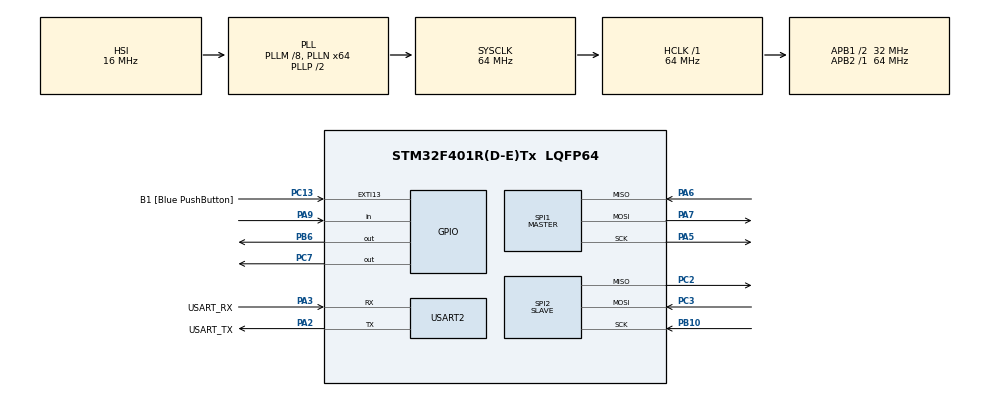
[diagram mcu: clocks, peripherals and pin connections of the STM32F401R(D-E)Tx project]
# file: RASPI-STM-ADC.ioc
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Mcu.Family=STM32F4
Mcu.Name=STM32F401R(D-E)Tx
Mcu.Package=LQFP64
NVIC.PriorityGroup=NVIC_PRIORITYGROUP_0
PA13.GPIO_Label=TMS
PA13.Mode=Serial_Wire
PA13.Signal=SYS_JTMS-SWDIO
PA14.GPIO_Label=TCK
PA14.Mode=Serial_Wire
PA14.Signal=SYS_JTCK-SWCLK
PA2.GPIO_Label=USART_TX
PA2.GPIO_Mode=GPIO_MODE_AF_PP
PA2.GPIO_PuPd=GPIO_NOPULL
PA2.GPIO_Speed=GPIO_SPEED_FREQ_LOW
PA2.Mode=Asynchronous
PA2.Signal=USART2_TX
PA3.GPIO_Label=USART_RX
PA3.GPIO_Mode=GPIO_MODE_AF_PP
PA3.GPIO_PuPd=GPIO_NOPULL
PA3.GPIO_Speed=GPIO_SPEED_FREQ_LOW
PA3.Mode=Asynchronous
PA3.Signal=USART2_RX
PA5.Mode=Full_Duplex_Master
PA5.Signal=SPI1_SCK
PA6.Mode=Full_Duplex_Master
PA6.Signal=SPI1_MISO
PA7.Mode=Full_Duplex_Master
PA7.Signal=SPI1_MOSI
PA9.Signal=GPIO_Input
PB10.Mode=Full_Duplex_Slave
PB10.Signal=SPI2_SCK
PB12.Signal=SPI2_NSS
PB3.GPIO_Label=SWO
PB3.Signal=SYS_JTDO-SWO
PB6.Signal=GPIO_Output
PC13-ANTI_TAMP.GPIO_Label=B1 [Blue PushButton]
PC13-ANTI_TAMP.GPIO_ModeDefaultEXTI=GPIO_MODE_IT_FALLING
PC13-ANTI_TAMP.GPIO_PuPd=GPIO_NOPULL
PC13-ANTI_TAMP.Signal=GPXTI13
PC14-OSC32_IN.Mode=LSE-External-Oscillator
PC14-OSC32_IN.Signal=RCC_OSC32_IN
PC15-OSC32_OUT.Mode=LSE-External-Oscillator
PC15-OSC32_OUT.Signal=RCC_OSC32_OUT
PC2.Mode=Full_Duplex_Slave
PC2.Signal=SPI2_MISO
PC3.Mode=Full_Duplex_Slave
PC3.Signal=SPI2_MOSI
PC7.Signal=GPIO_Output
PH0\ -\ OSC_IN.Mode=HSE-External-Clock-Source
PH0\ -\ OSC_IN.Signal=RCC_OSC_IN
PH1\ -\ OSC_OUT.Mode=HSE-External-Clock-Source
PH1\ -\ OSC_OUT.Signal=RCC_OSC_OUT
ProjectManager.HeapSize=0x200
ProjectManager.StackSize=0x400
ProjectManager.TargetToolchain=STM32CubeIDE
RCC.48MHZClocksFreq_Value=18285714.285714287
RCC.AHBFreq_Value=64000000
RCC.APB1CLKDivider=RCC_HCLK_DIV2
RCC.APB1Freq_Value=32000000
RCC.APB1TimFreq_Value=64000000
RCC.APB2Freq_Value=64000000
RCC.APB2TimFreq_Value=64000000
RCC.CortexFreq_Value=64000000
RCC.HCLKFreq_Value=64000000
RCC.HSE_VALUE=8000000
RCC.HSI_VALUE=16000000
RCC.PLLM=8
RCC.PLLN=64
RCC.PLLQ=7
RCC.SYSCLKFreq_VALUE=64000000
RCC.SYSCLKSource=RCC_SYSCLKSOURCE_PLLCLK
RCC.VCOOutputFreq_Value=128000000
SPI1.BaudRatePrescaler=SPI_BAUDRATEPRESCALER_32
SPI1.CLKPhase=SPI_PHASE_1EDGE
SPI1.CLKPolarity=SPI_POLARITY_HIGH
SPI1.CRCCalculation=SPI_CRCCALCULATION_DISABLE
SPI1.DataSize=SPI_DATASIZE_8BIT
SPI1.Direction=SPI_DIRECTION_2LINES
SPI1.FirstBit=SPI_FIRSTBIT_MSB
SPI1.Mode=SPI_MODE_MASTER
SPI1.VirtualType=VM_MASTER
SPI2.Direction=SPI_DIRECTION_2LINES
SPI2.Mode=SPI_MODE_SLAVE
SPI2.VirtualType=VM_SLAVE
USART2.VirtualMode=VM_ASYNC
board=NUCLEO-F401RE

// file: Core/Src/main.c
/* USER CODE BEGIN Header */
/**
  ******************************************************************************
  * @file           : main.c
  * @brief          : Main program body
  ******************************************************************************
  * @attention
  *
  * Copyright (c) 2024 STMicroelectronics.
  * All rights reserved.
  *
  * This software is licensed under terms that can be found in the LICENSE file
  * in the root directory of this software component.
  * If no LICENSE file comes with this software, it is provided AS-IS.
  *
  ******************************************************************************
  */
/* USER CODE END Header */
#include "main.h"

/* USER CODE BEGIN Includes */
#include <string.h>
#include <stdio.h>
/* USER CODE END Includes */

SPI_HandleTypeDef hspi1;
SPI_HandleTypeDef hspi2;

UART_HandleTypeDef huart2;

/* USER CODE BEGIN PV */

uint8_t buff_trans_1[12];
uint8_t buff_trans_2[12];
uint8_t buff_rec[20];
uint8_t cmd_r_reg = 0x10;
uint8_t cmd_w_reg = 0x50;
uint8_t cmd_sync = 0xFC;
uint8_t cmd_wakeup = 0x00;
uint8_t cmd_read_data = 0x01;
uint8_t reg_status = 0;
uint8_t reg_mux = 0x1;
uint8_t gain = 0x0;
uint8_t drate = 0xE0;

char id_success[] = "Connection successfull";
char id_unsuccessfull[] = "Connection unsuccessfull, stoping here ";
char test_buff_3[] = "doing conversions";
char id_char[10];
uint8_t id = 0;
rdata = 0;
//uint8_t read[2] = {0x10,0x00};
uint8_t read[3] = {0x10,0x00,0xFF};
uint8_t write[5] = {0x51,0x00,0x08, 0x00, 0x00};

void reset()
{
	  HAL_GPIO_WritePin(GPIOC, GPIO_PIN_7, GPIO_PIN_SET);
	  HAL_Delay(200);
	  HAL_GPIO_WritePin(GPIOC, GPIO_PIN_7, GPIO_PIN_RESET);
	  HAL_Delay(200);
	  HAL_GPIO_WritePin(GPIOC, GPIO_PIN_7, GPIO_PIN_SET);

	}

void wait_till_ready()
{
	while (HAL_GPIO_ReadPin(GPIOA, GPIO_PIN_9) == GPIO_PIN_SET)
		  	  {

		  	  }
	}

void write_cmd(uint8_t reg)
{
	HAL_GPIO_WritePin(GPIOB, GPIO_PIN_6, GPIO_PIN_RESET);
	HAL_SPI_Transmit(&hspi1,reg,1, HAL_MAX_DELAY);
	HAL_GPIO_WritePin(GPIOB, GPIO_PIN_6, GPIO_PIN_SET);

}

void write_reg(uint8_t reg,uint8_t data )
{
	write[0] = cmd_w_reg|reg;
	write[1] = 0x00;
	write[2] = data;
	HAL_GPIO_WritePin(GPIOB, GPIO_PIN_6, GPIO_PIN_RESET);
	HAL_SPI_Transmit(&hspi1,write,3, HAL_MAX_DELAY);
	HAL_GPIO_WritePin(GPIOB, GPIO_PIN_6, GPIO_PIN_SET);

}

uint8_t read_data(uint8_t reg)
{
	uint8_t data = 0;
	read[0] = cmd_r_reg | reg;
	read[1] = 0x00 ;
	HAL_GPIO_WritePin(GPIOB, GPIO_PIN_6, GPIO_PIN_RESET);
	HAL_SPI_Transmit(&hspi1,read,3, HAL_MAX_DELAY);
	//wait_till_ready();
	HAL_SPI_Receive(&hspi1,buff_rec, 1, HAL_MAX_DELAY);
	HAL_GPIO_WritePin(GPIOB, GPIO_PIN_6, GPIO_PIN_SET);
	HAL_Delay(100);
	data = buff_rec[0];
	return data;

}

uint8_t get_address()
{
	uint8_t id = 0;
	wait_till_ready();
	id = read_data(reg_status);
	id = id >> 4;
	return id;

}

void config_adc ()
{
	wait_till_ready();
	uint8_t buffer[5] = {0x04,0x08,0x00,0xF0,0x0};
	write[0] = cmd_w_reg|0;
	write[1] = 0x03;

	HAL_GPIO_WritePin(GPIOB, GPIO_PIN_6, GPIO_PIN_RESET);
	HAL_SPI_Transmit(&hspi1,write,2, HAL_MAX_DELAY);
	HAL_SPI_Transmit(&hspi1,buffer,4, HAL_MAX_DELAY);
	HAL_GPIO_WritePin(GPIOB, GPIO_PIN_6, GPIO_PIN_SET);
	HAL_Delay(1);

}

uint32_t read_adc_data()
{
	uint32_t channel_val = 0;
	write[0] =  cmd_read_data;;
	HAL_Delay(1);
	wait_till_ready();

	HAL_GPIO_WritePin(GPIOB, GPIO_PIN_6, GPIO_PIN_RESET);

	HAL_SPI_Transmit(&hspi1,write,1, HAL_MAX_DELAY);
	memset(buff_rec, 0, sizeof(buff_rec));

	HAL_SPI_Receive(&hspi1,buff_rec, 3, HAL_MAX_DELAY);

	HAL_GPIO_WritePin(GPIOB, GPIO_PIN_6, GPIO_PIN_SET);

	//channel_val= (buff_rec[0]<<16) & 0xff0000;
	//channel_val= (buff_rec[1]<<8) & 0xff00;;
	//channel_val|= (buff_rec[2]) & 0xff;
	channel_val = (buff_rec[2] << 16) | (buff_rec[1] << 8) | buff_rec[0];

	HAL_Delay(10);
	return channel_val;

}

uint32_t getChannelValue(uint8_t channel)
{
	write_reg(reg_mux, (channel <<4)|(1<<3));
	//HAL_Delay(5);
	write_cmd(cmd_sync);
	//HAL_Delay(5);
	write_cmd(cmd_wakeup);
	//HAL_Delay(5);
	uint32_t value = read_adc_data();
	send_adc_data_to_rpi(value);

	memset(buff_rec, '\0', sizeof(buff_rec));
	sprintf (buff_rec, "%u\n", value);
	HAL_UART_Transmit(&huart2, buff_rec, strlen((uint8_t*)buff_rec), HAL_MAX_DELAY);
	return value;
}

void send_adc_data_to_rpi(uint32_t adc_value)
{
    uint8_t tx_buffer[3];
    tx_buffer[0] = (adc_value >> 16) & 0xFF;
    tx_buffer[1] = (adc_value >> 8) & 0xFF;
    tx_buffer[2] = adc_value & 0xFF;  // MSB

    HAL_GPIO_WritePin(GPIOB, GPIO_PIN_12, GPIO_PIN_RESET);// Set NSS low if using software NSS
    HAL_Delay(1);
    HAL_SPI_Transmit_IT(&hspi2, tx_buffer, 3);
    while (HAL_SPI_GetState(&hspi2) != HAL_SPI_STATE_READY) {
           // Optional: You can use a timeout here
       }

       // Set NSS high to end transmission
       HAL_GPIO_WritePin(GPIOB, GPIO_PIN_12, GPIO_PIN_SET);  // NSS high
}

void HAL_SPI_TxCpltCallback(SPI_HandleTypeDef *hspi)
{
    if (hspi->Instance == SPI2)
    {
        HAL_GPIO_WritePin(GPIOB, GPIO_PIN_12, GPIO_PIN_SET); // Set NSS high
    }
}

/* USER CODE END PV */

void SystemClock_Config(void);
static void MX_GPIO_Init(void);
static void MX_USART2_UART_Init(void);
static void MX_SPI1_Init(void);
static void MX_SPI2_Init(void);

int main(void)
{

  /* MCU Configuration--------------------------------------------------------*/

  /* Reset of all peripherals, Initializes the Flash interface and the Systick. */
  HAL_Init();

  /* Configure the system clock */
  SystemClock_Config();

  /* Initialize all configured peripherals */
  MX_GPIO_Init();
  MX_USART2_UART_Init();
  MX_SPI1_Init();
  MX_SPI2_Init();
  /* USER CODE BEGIN 2 */
  //reset the board
  HAL_GPIO_WritePin(GPIOB, GPIO_PIN_6, GPIO_PIN_SET);
  uint8_t id = 0;
  reset();
   memset(buff_trans_1, '\0', sizeof(buff_trans_1));
   memset(buff_trans_2, '\0', sizeof(buff_trans_2));
   memset(buff_rec, '\0', sizeof(buff_rec));

   id = get_address();
   if(id == 3)
   {
   HAL_UART_Transmit(&huart2, id_success, strlen((uint8_t*)id_success), HAL_MAX_DELAY);
   config_adc();
   }
   else
   {
	   HAL_UART_Transmit(&huart2, id_unsuccessfull, strlen((uint8_t*)id_unsuccessfull), HAL_MAX_DELAY);
	   while(1){};
   }

  	  HAL_Delay (1000);
  /* USER CODE END 2 */

  /* Infinite loop */
  /* USER CODE BEGIN WHILE */
  while (1)
  {
	  uint32_t value = getChannelValue(0);
	  HAL_Delay(1000);

	  // Send read command

    /* USER CODE END WHILE */

  }
}

void SystemClock_Config(void)
{
  RCC_OscInitTypeDef RCC_OscInitStruct = {0};
  RCC_ClkInitTypeDef RCC_ClkInitStruct = {0};

  /** Configure the main internal regulator output voltage
  */
  __HAL_RCC_PWR_CLK_ENABLE();
  __HAL_PWR_VOLTAGESCALING_CONFIG(PWR_REGULATOR_VOLTAGE_SCALE2);

  /** Initializes the RCC Oscillators according to the specified parameters
  * in the RCC_OscInitTypeDef structure.
  */
  RCC_OscInitStruct.OscillatorType = RCC_OSCILLATORTYPE_HSI;
  RCC_OscInitStruct.HSIState = RCC_HSI_ON;
  RCC_OscInitStruct.HSICalibrationValue = RCC_HSICALIBRATION_DEFAULT;
  RCC_OscInitStruct.PLL.PLLState = RCC_PLL_ON;
  RCC_OscInitStruct.PLL.PLLSource = RCC_PLLSOURCE_HSI;
  RCC_OscInitStruct.PLL.PLLM = 8;
  RCC_OscInitStruct.PLL.PLLN = 64;
  RCC_OscInitStruct.PLL.PLLP = RCC_PLLP_DIV2;
  RCC_OscInitStruct.PLL.PLLQ = 7;
  if (HAL_RCC_OscConfig(&RCC_OscInitStruct) != HAL_OK)
  {
    Error_Handler();
  }

  /** Initializes the CPU, AHB and APB buses clocks
  */
  RCC_ClkInitStruct.ClockType = RCC_CLOCKTYPE_HCLK|RCC_CLOCKTYPE_SYSCLK
                              |RCC_CLOCKTYPE_PCLK1|RCC_CLOCKTYPE_PCLK2;
  RCC_ClkInitStruct.SYSCLKSource = RCC_SYSCLKSOURCE_PLLCLK;
  RCC_ClkInitStruct.AHBCLKDivider = RCC_SYSCLK_DIV1;
  RCC_ClkInitStruct.APB1CLKDivider = RCC_HCLK_DIV2;
  RCC_ClkInitStruct.APB2CLKDivider = RCC_HCLK_DIV1;

  if (HAL_RCC_ClockConfig(&RCC_ClkInitStruct, FLASH_LATENCY_2) != HAL_OK)
  {
    Error_Handler();
  }
}

static void MX_SPI1_Init(void)
{

  /* SPI1 parameter configuration*/
  hspi1.Instance = SPI1;
  hspi1.Init.Mode = SPI_MODE_MASTER;
  hspi1.Init.Direction = SPI_DIRECTION_2LINES;
  hspi1.Init.DataSize = SPI_DATASIZE_8BIT;
  hspi1.Init.CLKPolarity = SPI_POLARITY_HIGH;
  hspi1.Init.CLKPhase = SPI_PHASE_1EDGE;
  hspi1.Init.NSS = SPI_NSS_SOFT;
  hspi1.Init.BaudRatePrescaler = SPI_BAUDRATEPRESCALER_32;
  hspi1.Init.FirstBit = SPI_FIRSTBIT_MSB;
  hspi1.Init.TIMode = SPI_TIMODE_DISABLE;
  hspi1.Init.CRCCalculation = SPI_CRCCALCULATION_DISABLE;
  hspi1.Init.CRCPolynomial = 10;
  if (HAL_SPI_Init(&hspi1) != HAL_OK)
  {
    Error_Handler();
  }

}

static void MX_SPI2_Init(void)
{

  /* SPI2 parameter configuration*/
  hspi2.Instance = SPI2;
  hspi2.Init.Mode = SPI_MODE_SLAVE;
  hspi2.Init.Direction = SPI_DIRECTION_2LINES;
  hspi2.Init.DataSize = SPI_DATASIZE_8BIT;
  hspi2.Init.CLKPolarity = SPI_POLARITY_LOW;
  hspi2.Init.CLKPhase = SPI_PHASE_1EDGE;
  hspi2.Init.NSS = SPI_NSS_SOFT;
  hspi2.Init.FirstBit = SPI_FIRSTBIT_MSB;
  hspi2.Init.TIMode = SPI_TIMODE_DISABLE;
  hspi2.Init.CRCCalculation = SPI_CRCCALCULATION_DISABLE;
  hspi2.Init.CRCPolynomial = 10;
  if (HAL_SPI_Init(&hspi2) != HAL_OK)
  {
    Error_Handler();
  }
  /* USER CODE BEGIN SPI2_Init 2 */
  HAL_NVIC_SetPriority(SPI2_IRQn, 0, 0);
  HAL_NVIC_EnableIRQ(SPI2_IRQn);

  /* USER CODE END SPI2_Init 2 */

}

static void MX_USART2_UART_Init(void)
{

  huart2.Instance = USART2;
  huart2.Init.BaudRate = 115200;
  huart2.Init.WordLength = UART_WORDLENGTH_8B;
  huart2.Init.StopBits = UART_STOPBITS_1;
  huart2.Init.Parity = UART_PARITY_NONE;
  huart2.Init.Mode = UART_MODE_TX_RX;
  huart2.Init.HwFlowCtl = UART_HWCONTROL_NONE;
  huart2.Init.OverSampling = UART_OVERSAMPLING_16;
  if (HAL_UART_Init(&huart2) != HAL_OK)
  {
    Error_Handler();
  }

}

static void MX_GPIO_Init(void)
{
  GPIO_InitTypeDef GPIO_InitStruct = {0};

  /* GPIO Ports Clock Enable */
  __HAL_RCC_GPIOC_CLK_ENABLE();
  __HAL_RCC_GPIOH_CLK_ENABLE();
  __HAL_RCC_GPIOA_CLK_ENABLE();
  __HAL_RCC_GPIOB_CLK_ENABLE();

  /*Configure GPIO pin Output Level */
  HAL_GPIO_WritePin(GPIOC, GPIO_PIN_7, GPIO_PIN_RESET);

  /*Configure GPIO pin Output Level */
  HAL_GPIO_WritePin(GPIOB, GPIO_PIN_6, GPIO_PIN_RESET);

  /*Configure GPIO pin : B1_Pin */
  GPIO_InitStruct.Pin = B1_Pin;
  GPIO_InitStruct.Mode = GPIO_MODE_IT_FALLING;
  GPIO_InitStruct.Pull = GPIO_NOPULL;
  HAL_GPIO_Init(B1_GPIO_Port, &GPIO_InitStruct);

  /*Configure GPIO pin : PC7 */
  GPIO_InitStruct.Pin = GPIO_PIN_7;
  GPIO_InitStruct.Mode = GPIO_MODE_OUTPUT_PP;
  GPIO_InitStruct.Pull = GPIO_NOPULL;
  GPIO_InitStruct.Speed = GPIO_SPEED_FREQ_LOW;
  HAL_GPIO_Init(GPIOC, &GPIO_InitStruct);

  /*Configure GPIO pin : PA9 */
  GPIO_InitStruct.Pin = GPIO_PIN_9;
  GPIO_InitStruct.Mode = GPIO_MODE_INPUT;
  GPIO_InitStruct.Pull = GPIO_NOPULL;
  HAL_GPIO_Init(GPIOA, &GPIO_InitStruct);

  /*Configure GPIO pin : PB6 */
  GPIO_InitStruct.Pin = GPIO_PIN_6;
  GPIO_InitStruct.Mode = GPIO_MODE_OUTPUT_PP;
  GPIO_InitStruct.Pull = GPIO_NOPULL;
  GPIO_InitStruct.Speed = GPIO_SPEED_FREQ_LOW;
  HAL_GPIO_Init(GPIOB, &GPIO_InitStruct);

}

void Error_Handler(void)
{
  __disable_irq();
  while (1)
  {
  }
}
